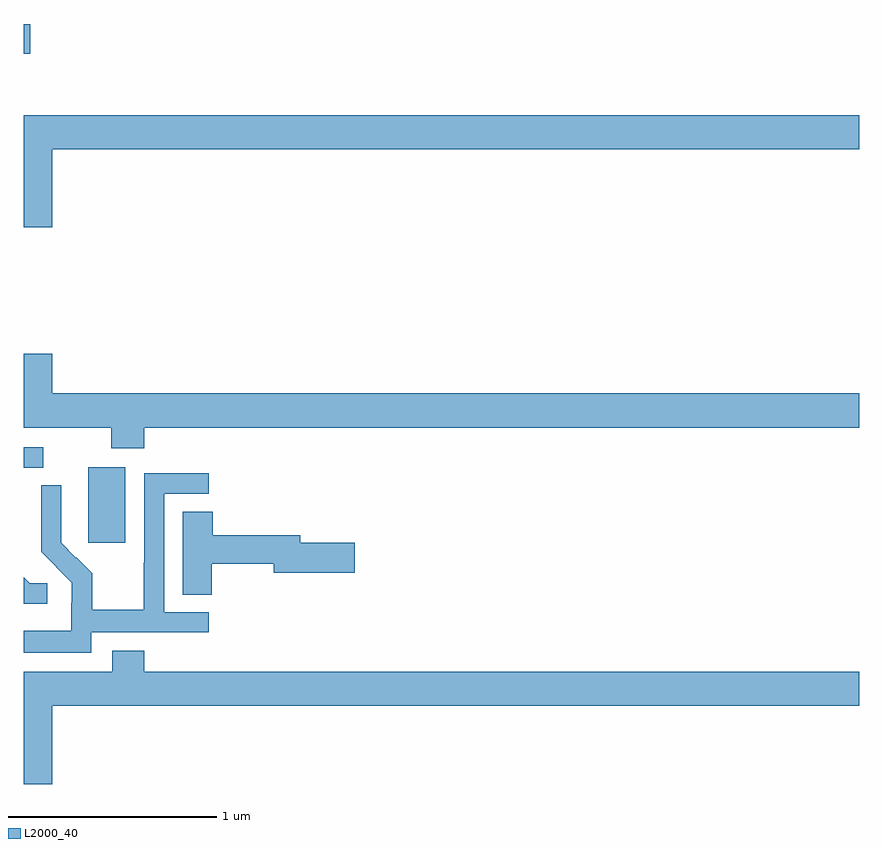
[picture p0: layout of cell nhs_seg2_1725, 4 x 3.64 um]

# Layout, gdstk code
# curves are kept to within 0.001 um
import gdstk
lib = gdstk.Library(unit=1e-6, precision=1e-09)
def R(c, l, rs):  # rectangles x0, y0, x1, y1
    for r in rs: c.add(gdstk.rectangle(r[:2], r[2:], *l))
def P(c, l, *ps):  # polygons
    for p in ps: c.add(gdstk.Polygon(p, *l))
L2000_40 = (2000, 40)

nhs_seg2_1725 = lib.new_cell('nhs_seg2_1725')
R(nhs_seg2_1725, L2000_40, [(201.308,627.105,201.487,627.466), (201,627.465,201.094,627.561), (201,629.446,201.031,629.588)])
P(nhs_seg2_1725, L2000_40, [(201.136,628.988),(205,628.988),(205,629.152),(201,629.152),(201,628.614),(201.136,628.614)],
  [(201.578,627.656),(205,627.656),(205,627.82),(201.136,627.82),(201.136,628.009),(201,628.009),(201,627.656),(201.418,627.656),(201.418,627.557),(201.578,627.557)],
  [(201.324,626.676),(201.886,626.676),(201.886,626.772),(201.672,626.772),(201.672,627.339),(201.886,627.339),(201.886,627.438),(201.576,627.438),(201.576,627.008),(201.574,627.008),(201.574,626.785),(201.329,626.785),(201.329,626.959),(201.252,627.036),(201.249,627.033),(201.179,627.104),(201.18,627.38),(201.084,627.38),(201.084,627.062),(201.23,626.914),(201.23,626.817),(201.228,626.817),(201.228,626.683),(201,626.683),(201,626.579),(201.324,626.579)],
  [(201.9,627.004),(202.196,627.004),(202.196,626.962),(202.585,626.962),(202.585,627.104),(202.324,627.104),(202.324,627.14),(201.905,627.14),(201.905,627.254),(201.761,627.254),(201.761,626.857),(201.9,626.857)],
  [(201.112,626.91),(201.03,626.91),(201,626.94),(201,626.813),(201.112,626.813)],
  [(201.136,626.324),(205,626.324),(205,626.488),(201.578,626.488),(201.578,626.587),(201.425,626.587),(201.425,626.488),(201,626.488),(201,625.95),(201.136,625.95)])

lib.write_gds('nhs_seg2_1725.gds')
